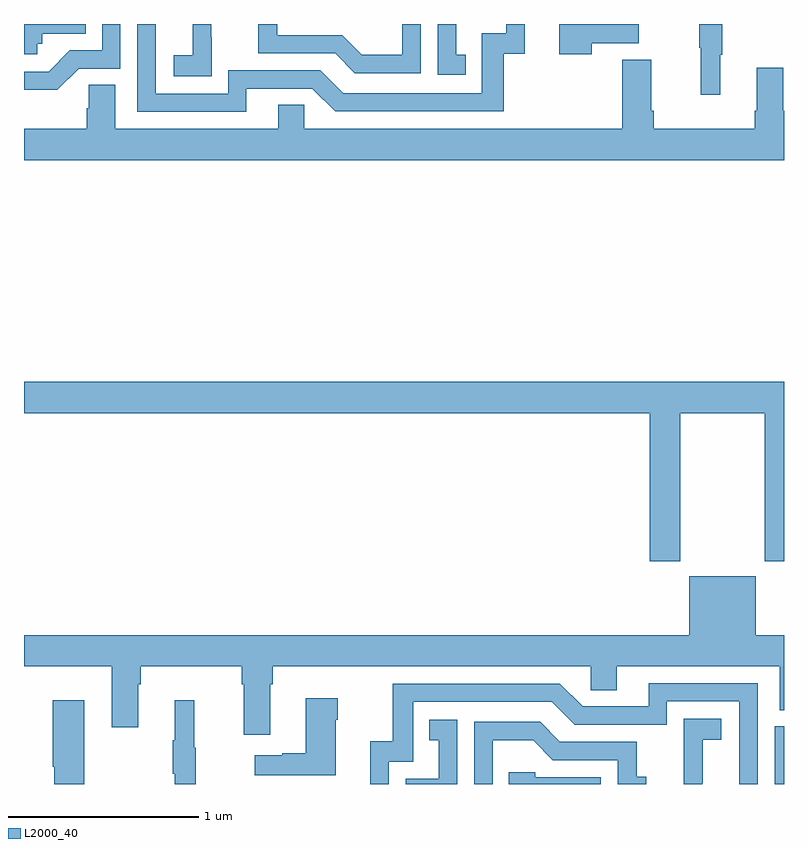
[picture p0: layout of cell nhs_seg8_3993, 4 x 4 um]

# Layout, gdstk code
import gdstk
lib = gdstk.Library(unit=1e-6, precision=1e-09)
def R(c, l, rs):  # rectangles x0, y0, x1, y1
    for r in rs: c.add(gdstk.rectangle(r[:2], r[2:], *l))
def P(c, l, *ps):  # polygons
    for p in ps: c.add(gdstk.Polygon(p, *l))
L2000_40 = (2000, 40)

nhs_seg8_3993 = lib.new_cell('nhs_seg8_3993')
R(nhs_seg8_3993, L2000_40, [(360.951,1095.9,361,1096.203)])
P(nhs_seg8_3993, L2000_40, [(359.088,1099.9),(358.992,1099.9),(358.992,1099.738),(358.778,1099.738),(358.674,1099.842),(358.332,1099.842),(358.332,1099.9),(358.234,1099.9),(358.234,1099.746),(358.637,1099.746),(358.742,1099.641),(359.088,1099.641)],
  [(357.987,1099.831),(357.986,1099.831),(357.986,1099.9),(357.887,1099.9),(357.887,1099.735),(357.789,1099.735),(357.789,1099.625),(357.987,1099.625)],
  [(359.987,1099.799),(360.235,1099.799),(360.235,1099.9),(359.816,1099.9),(359.816,1099.74),(359.987,1099.74)],
  [(360.665,1099.739),(360.676,1099.739),(360.676,1099.9),(360.555,1099.9),(360.555,1099.776),(360.562,1099.776),(360.562,1099.527),(360.665,1099.527)],
  [(359.324,1099.737),(359.275,1099.737),(359.275,1099.9),(359.178,1099.9),(359.178,1099.632),(359.324,1099.632)],
  [(358.171,1099.56),(358.518,1099.56),(358.638,1099.44),(359.525,1099.44),(359.525,1099.743),(359.636,1099.743),(359.636,1099.9),(359.538,1099.9),(359.538,1099.851),(359.409,1099.851),(359.409,1099.536),(358.68,1099.536),(358.56,1099.656),(358.074,1099.656),(358.074,1099.533),(357.693,1099.533),(357.693,1099.9),(357.597,1099.9),(357.597,1099.437),(358.171,1099.437)],
  [(357.288,1099.665),(357.507,1099.665),(357.507,1099.9),(357.411,1099.9),(357.411,1099.761),(357.242,1099.761),(357.131,1099.65),(357,1099.65),(357,1099.553),(357.175,1099.553)],
  [(357.069,1099.797),(357.096,1099.797),(357.096,1099.85),(357.326,1099.85),(357.326,1099.9),(357,1099.9),(357,1099.742),(357.069,1099.742)],
  [(361,1099.444),(360.997,1099.444),(360.997,1099.669),(360.857,1099.669),(360.857,1099.444),(360.845,1099.444),(360.845,1099.348),(360.314,1099.348),(360.314,1099.444),(360.301,1099.444),(360.301,1099.711),(360.149,1099.711),(360.149,1099.348),(358.476,1099.348),(358.476,1099.475),(358.337,1099.475),(358.337,1099.348),(357.481,1099.348),(357.481,1099.58),(357.342,1099.58),(357.342,1099.457),(357.329,1099.457),(357.329,1099.348),(357,1099.348),(357,1099.184),(361,1099.184)],
  [(360.453,1097.852),(360.898,1097.852),(360.898,1097.073),(361,1097.073),(361,1098.016),(357,1098.016),(357,1097.852),(360.293,1097.852),(360.293,1097.073),(360.453,1097.073)],
  [(358.297,1096.424),(358.31,1096.424),(358.31,1096.52),(359.982,1096.52),(359.982,1096.393),(360.121,1096.393),(360.121,1096.52),(360.977,1096.52),(360.977,1096.288),(361,1096.288),(361,1096.684),(360.85,1096.684),(360.85,1096.993),(360.5,1096.993),(360.5,1096.684),(357,1096.684),(357,1096.52),(357.461,1096.52),(357.461,1096.2),(357.601,1096.2),(357.601,1096.424),(357.614,1096.424),(357.614,1096.52),(358.145,1096.52),(358.145,1096.424),(358.157,1096.424),(358.157,1096.158),(358.297,1096.158)],
  [(358.92,1096.017),(359.049,1096.017),(359.049,1096.332),(359.778,1096.332),(359.898,1096.212),(360.384,1096.212),(360.384,1096.335),(360.765,1096.335),(360.765,1095.9),(360.861,1095.9),(360.861,1096.431),(360.287,1096.431),(360.287,1096.308),(359.94,1096.308),(359.82,1096.428),(358.941,1096.428),(358.941,1096.126),(358.823,1096.126),(358.823,1095.9),(358.92,1095.9)],
  [(358.642,1096.238),(358.65,1096.238),(358.65,1096.351),(358.484,1096.351),(358.484,1096.061),(358.358,1096.061),(358.358,1096.051),(358.215,1096.051),(358.215,1095.947),(358.642,1095.947)],
  [(357.316,1096.342),(357.152,1096.342),(357.152,1095.99),(357.158,1095.99),(357.158,1095.9),(357.316,1095.9)],
  [(357.904,1096.092),(357.896,1096.092),(357.896,1096.342),(357.794,1096.342),(357.794,1096.129),(357.783,1096.129),(357.783,1095.955),(357.794,1095.955),(357.794,1095.9),(357.904,1095.9)],
  [(360.57,1095.905),(360.572,1095.905),(360.572,1096.133),(360.67,1096.133),(360.67,1096.243),(360.472,1096.243),(360.472,1096.037),(360.473,1096.037),(360.473,1095.9),(360.57,1095.9)],
  [(359.28,1096.237),(359.134,1096.237),(359.134,1096.131),(359.183,1096.131),(359.183,1095.927),(359.01,1095.927),(359.01,1095.9),(359.28,1095.9)],
  [(359.466,1096.13),(359.68,1096.13),(359.784,1096.026),(360.126,1096.026),(360.126,1095.9),(360.274,1095.9),(360.274,1095.937),(360.225,1095.937),(360.225,1096.122),(359.821,1096.122),(359.716,1096.227),(359.37,1096.227),(359.37,1095.9),(359.466,1095.9)],
  [(360.036,1095.936),(359.691,1095.936),(359.691,1095.963),(359.551,1095.963),(359.551,1095.9),(360.036,1095.9)])

lib.write_gds('nhs_seg8_3993.gds')
